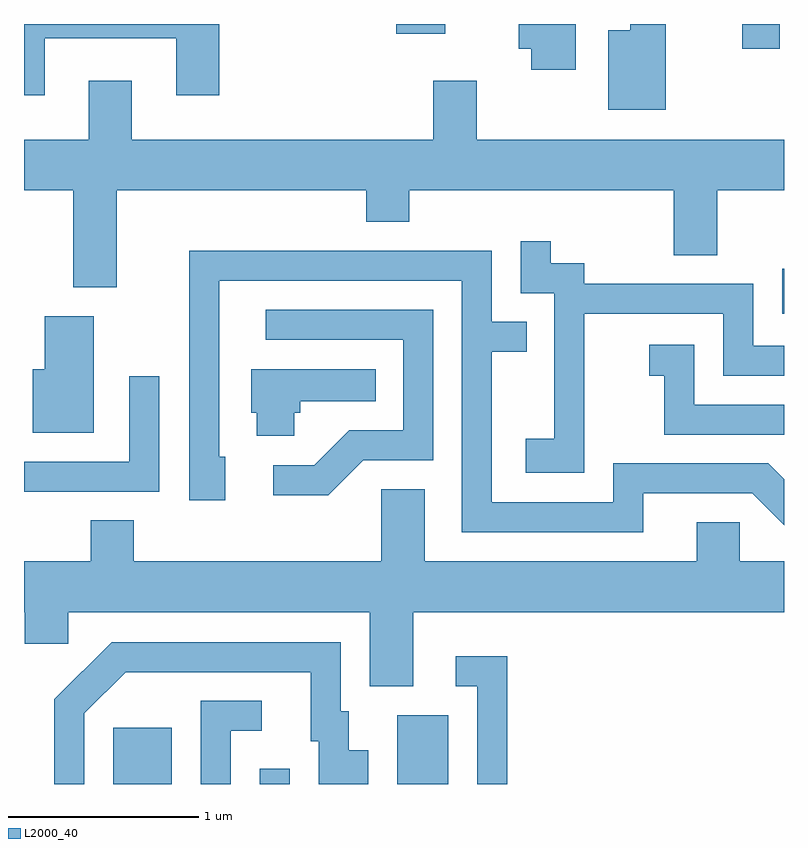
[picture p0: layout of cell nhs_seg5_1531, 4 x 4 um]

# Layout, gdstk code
import gdstk
lib = gdstk.Library(unit=1e-6, precision=1e-09)
def R(c, l, rs):  # rectangles x0, y0, x1, y1
    for r in rs: c.add(gdstk.rectangle(r[:2], r[2:], *l))
def P(c, l, *ps):  # polygons
    for p in ps: c.add(gdstk.Polygon(p, *l))
L2000_40 = (2000, 40)

nhs_seg5_1531 = lib.new_cell('nhs_seg5_1531')
R(nhs_seg5_1531, L2000_40, [(230.081,1498.072,230.389,1498.369), (230.851,1498.072,231.009,1498.153), (231.576,1498.072,231.844,1498.434), (233.601,1500.546,233.611,1500.783), (233.391,1501.941,233.589,1502.072), (231.571,1502.021,231.829,1502.072)])
P(nhs_seg5_1531, L2000_40, [(229.719,1501.996),(230.411,1501.996),(230.411,1501.696),(230.639,1501.696),(230.639,1502.072),(229.611,1502.072),(229.611,1501.696),(229.719,1501.696)],
  [(232.989,1502.072),(232.801,1502.072),(232.801,1502.039),(232.686,1502.039),(232.686,1501.621),(232.989,1501.621)],
  [(232.514,1502.072),(232.216,1502.072),(232.216,1501.941),(232.281,1501.941),(232.281,1501.831),(232.514,1501.831)],
  [(230.099,1501.196),(231.411,1501.196),(231.411,1501.031),(231.639,1501.031),(231.639,1501.196),(233.031,1501.196),(233.031,1500.856),(233.259,1500.856),(233.259,1501.196),(233.611,1501.196),(233.611,1501.464),(231.994,1501.464),(231.994,1501.774),(231.766,1501.774),(231.766,1501.464),(230.179,1501.464),(230.179,1501.774),(229.951,1501.774),(229.951,1501.464),(229.611,1501.464),(229.611,1501.196),(229.871,1501.196),(229.871,1500.686),(230.099,1500.686)],
  [(232.559,1500.546),(233.291,1500.546),(233.291,1500.221),(233.611,1500.221),(233.611,1500.379),(233.449,1500.379),(233.449,1500.704),(232.559,1500.704),(232.559,1500.814),(232.384,1500.814),(232.384,1500.928),(232.226,1500.928),(232.226,1500.656),(232.401,1500.656),(232.401,1499.889),(232.251,1499.889),(232.251,1499.711),(232.559,1499.711)],
  [(232.869,1499.601),(233.444,1499.601),(233.611,1499.434),(233.611,1499.675),(233.527,1499.759),(232.711,1499.759),(232.711,1499.554),(232.074,1499.554),(232.074,1500.346),(232.258,1500.346),(232.258,1500.504),(232.074,1500.504),(232.074,1500.879),(230.481,1500.879),(230.481,1499.566),(230.669,1499.566),(230.669,1499.794),(230.639,1499.794),(230.639,1500.721),(231.916,1500.721),(231.916,1499.396),(232.869,1499.396)],
  [(231.397,1499.776),(231.764,1499.776),(231.764,1500.569),(230.883,1500.569),(230.883,1500.411),(231.606,1500.411),(231.606,1499.934),(231.324,1499.934),(231.139,1499.749),(230.923,1499.749),(230.923,1499.591),(231.212,1499.591)],
  [(229.979,1500.534),(229.721,1500.534),(229.721,1500.254),(229.656,1500.254),(229.656,1499.921),(229.979,1499.921)],
  [(233.611,1500.069),(233.139,1500.069),(233.139,1500.384),(232.903,1500.384),(232.903,1500.221),(232.981,1500.221),(232.981,1499.911),(233.611,1499.911)],
  [(231.034,1500.026),(231.064,1500.026),(231.064,1500.086),(231.463,1500.086),(231.463,1500.254),(230.806,1500.254),(230.806,1500.026),(230.836,1500.026),(230.836,1499.906),(231.034,1499.906)],
  [(230.324,1500.218),(230.166,1500.218),(230.166,1499.769),(229.611,1499.769),(229.611,1499.611),(230.324,1499.611)],
  [(231.659,1498.976),(233.611,1498.976),(233.611,1499.244),(233.379,1499.244),(233.379,1499.449),(233.151,1499.449),(233.151,1499.244),(231.719,1499.244),(231.719,1499.624),(231.491,1499.624),(231.491,1499.244),(230.189,1499.244),(230.189,1499.459),(229.961,1499.459),(229.961,1499.244),(229.611,1499.244),(229.611,1498.976),(229.616,1498.976),(229.616,1498.811),(229.844,1498.811),(229.844,1498.976),(231.431,1498.976),(231.431,1498.586),(231.659,1498.586)],
  [(229.929,1498.444),(230.147,1498.661),(231.121,1498.661),(231.121,1498.296),(231.161,1498.296),(231.161,1498.072),(231.424,1498.072),(231.424,1498.249),(231.319,1498.249),(231.319,1498.454),(231.279,1498.454),(231.279,1498.819),(230.074,1498.819),(229.771,1498.517),(229.771,1498.072),(229.929,1498.072)],
  [(232.154,1498.744),(231.883,1498.744),(231.883,1498.586),(231.996,1498.586),(231.996,1498.072),(232.154,1498.072)],
  [(230.699,1498.351),(230.863,1498.351),(230.863,1498.509),(230.541,1498.509),(230.541,1498.072),(230.699,1498.072)])

lib.write_gds('nhs_seg5_1531.gds')
